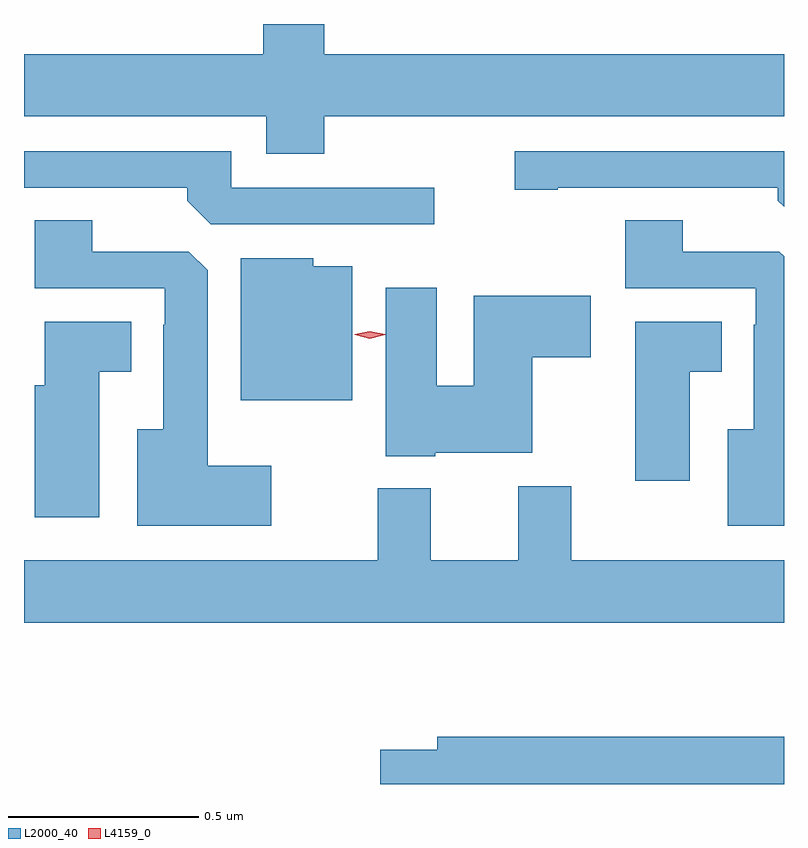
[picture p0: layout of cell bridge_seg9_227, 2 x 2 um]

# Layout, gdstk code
import gdstk
lib = gdstk.Library(unit=1e-6, precision=1e-09)
def P(c, l, *ps):  # polygons
    for p in ps: c.add(gdstk.Polygon(p, *l))
L2000_40 = (2000, 40)
L4159_0 = (4159, 0)

bridge_seg9_227 = lib.new_cell('bridge_seg9_227')
P(bridge_seg9_227, L2000_40, [(148.982,1195.088),(150.192,1195.088),(150.192,1195.252),(148.982,1195.252),(148.982,1195.331),(148.822,1195.331),(148.822,1195.252),(148.192,1195.252),(148.192,1195.088),(148.829,1195.088),(148.829,1194.989),(148.982,1194.989)],
  [(150.192,1194.996),(149.484,1194.996),(149.484,1194.895),(149.596,1194.895),(149.596,1194.9),(150.176,1194.9),(150.176,1194.866),(150.192,1194.85)],
  [(149.272,1194.9),(148.737,1194.9),(148.737,1194.996),(148.192,1194.996),(148.192,1194.9),(148.622,1194.9),(148.622,1194.866),(148.683,1194.804),(149.272,1194.804)],
  [(150.192,1194.72),(150.18,1194.732),(149.926,1194.732),(149.926,1194.815),(149.774,1194.815),(149.774,1194.636),(150.117,1194.636),(150.117,1194.539),(150.113,1194.539),(150.113,1194.265),(150.044,1194.265),(150.044,1194.011),(150.192,1194.011)],
  [(148.843,1194.169),(148.675,1194.169),(148.675,1194.683),(148.626,1194.732),(148.372,1194.732),(148.372,1194.815),(148.22,1194.815),(148.22,1194.636),(148.563,1194.636),(148.563,1194.539),(148.559,1194.539),(148.559,1194.265),(148.49,1194.265),(148.49,1194.011),(148.843,1194.011)],
  [(149.056,1194.694),(148.953,1194.694),(148.953,1194.715),(148.763,1194.715),(148.763,1194.341),(149.056,1194.341)],
  [(149.274,1194.203),(149.53,1194.203),(149.53,1194.454),(149.683,1194.454),(149.683,1194.616),(149.375,1194.616),(149.375,1194.379),(149.278,1194.379),(149.278,1194.637),(149.144,1194.637),(149.144,1194.194),(149.274,1194.194)],
  [(149.944,1194.416),(150.028,1194.416),(150.028,1194.547),(149.801,1194.547),(149.801,1194.129),(149.944,1194.129)],
  [(148.39,1194.416),(148.474,1194.416),(148.474,1194.547),(148.247,1194.547),(148.247,1194.381),(148.22,1194.381),(148.22,1194.033),(148.39,1194.033)],
  [(150.192,1193.92),(149.632,1193.92),(149.632,1194.115),(149.492,1194.115),(149.492,1193.92),(149.263,1193.92),(149.263,1194.109),(149.123,1194.109),(149.123,1193.92),(148.192,1193.92),(148.192,1193.756),(150.192,1193.756)],
  [(150.192,1193.455),(149.279,1193.455),(149.279,1193.421),(149.13,1193.421),(149.13,1193.331),(150.192,1193.331)])
P(bridge_seg9_227, L4159_0, [(149.102,1194.503),(149.062,1194.513),(149.062,1194.513),(149.062,1194.514),(149.102,1194.523),(149.142,1194.514),(149.142,1194.513),(149.142,1194.513)])

lib.write_gds('bridge_seg9_227.gds')
